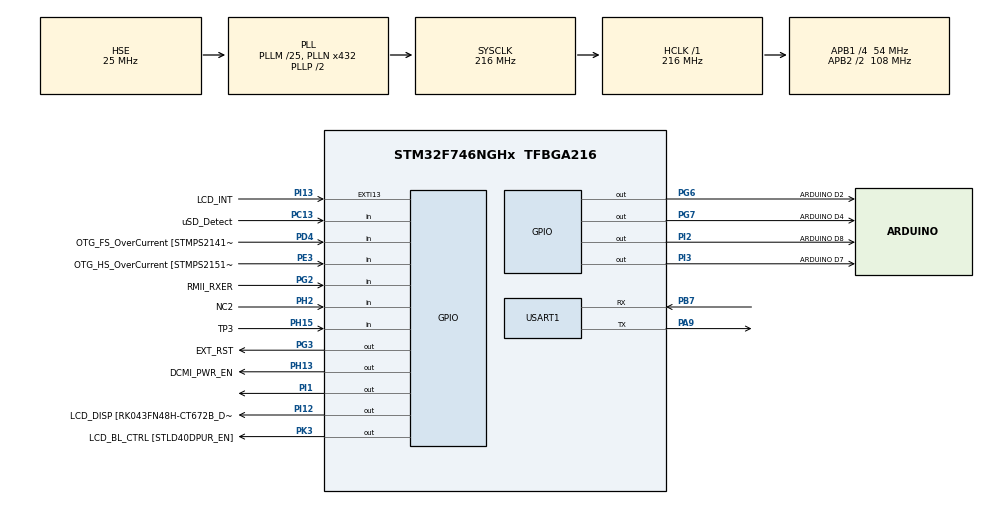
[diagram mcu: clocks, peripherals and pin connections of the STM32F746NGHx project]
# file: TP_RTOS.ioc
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FREERTOS.Tasks01=defaultTask,24,128,StartDefaultTask,Default,NULL,Dynamic,NULL,NULL
FREERTOS.configGENERATE_RUN_TIME_STATS=1
FREERTOS.configUSE_NEWLIB_REENTRANT=1
FREERTOS.configUSE_STATS_FORMATTING_FUNCTIONS=1
Mcu.Family=STM32F7
Mcu.Name=STM32F746NGHx
Mcu.Package=TFBGA216
NVIC.PriorityGroup=NVIC_PRIORITYGROUP_4
NVIC.TIM6_DAC_IRQn=true\:0\:0\:true\:false\:true\:false\:false\:true\:true
NVIC.TimeBase=TIM6_DAC_IRQn
NVIC.TimeBaseIP=TIM6
NVIC.USART1_IRQn=true\:5\:0\:false\:false\:true\:true\:true\:true\:true
PA0/WKUP.GPIO_Label=ARDUINO A0
PA0/WKUP.GPIO_Mode=GPIO_MODE_ANALOG
PA0/WKUP.GPIO_PuPd=GPIO_NOPULL
PA0/WKUP.Signal=ADCx_IN0
PA1.GPIO_Label=RMII_REF_CLK [LAN8742A-CZ-TR_REFCLK0]
PA1.Signal=ETH_REF_CLK
PA11.GPIO_Label=OTG_FS_N
PA11.Signal=USB_OTG_FS_DM
PA12.GPIO_Label=OTG_FS_P
PA12.Signal=USB_OTG_FS_DP
PA13.GPIO_Label=SWDIO
PA13.Mode=Trace_Asynchronous_SW
PA13.Signal=SYS_JTMS-SWDIO
PA14.GPIO_Label=SWCLK
PA14.Mode=Trace_Asynchronous_SW
PA14.Signal=SYS_JTCK-SWCLK
PA15.GPIO_Label=ARDUINO PWM/D9
PA15.GPIO_ModeDefaultPP=GPIO_MODE_AF_PP
PA15.GPIO_PuPd=GPIO_NOPULL
PA15.GPIO_Speed=GPIO_SPEED_FREQ_LOW
PA15.Signal=S_TIM2_CH1_ETR
PA4.GPIO_Label=DCMI_HSYNC
PA4.Signal=DCMI_HSYNC
PA5.GPIO_Label=ULPI_CLK [USB3320C-EZK_CLKOUT]
PA5.Signal=USB_OTG_HS_ULPI_CK
PA7.GPIO_Label=RMII_CRS_DV [LAN8742A-CZ-TR_CRS_DV]
PA7.Signal=ETH_CRS_DV
PA8.GPIO_Label=ARDUINO PWM/D10
PA8.GPIO_ModeDefaultPP=GPIO_MODE_AF_PP
PA8.GPIO_PuPd=GPIO_NOPULL
PA8.GPIO_Speed=GPIO_SPEED_FREQ_LOW
PA8.Signal=S_TIM1_CH1
PA9.Mode=Asynchronous
PA9.Signal=USART1_TX
PB0.GPIO_Label=ULPI_D1 [USB3320C-EZK_D1]
PB0.Signal=USB_OTG_HS_ULPI_D1
PB1.GPIO_Label=ULPI_D2 [USB3320C-EZK_D2]
PB1.Signal=USB_OTG_HS_ULPI_D2
PB10.GPIO_Label=ULPI_D3 [USB3320C-EZK_D3]
PB10.Signal=USB_OTG_HS_ULPI_D3
PB11.GPIO_Label=ULPI_D4 [USB3320C-EZK_D4]
PB11.Signal=USB_OTG_HS_ULPI_D4
PB12.GPIO_Label=ULPI_D5 [USB3320C-EZK_D5]
PB12.Signal=USB_OTG_HS_ULPI_D5
PB13.GPIO_Label=ULPI_D6 [USB3320C-EZK_D6]
PB13.Signal=USB_OTG_HS_ULPI_D6
PB14.GPIO_Label=ARDUINO MISO/D12
PB14.GPIO_Mode=GPIO_MODE_AF_PP
PB14.GPIO_PuPd=GPIO_NOPULL
PB14.GPIO_Speed=GPIO_SPEED_FREQ_LOW
PB14.Signal=SPI2_MISO
PB15.GPIO_Label=ARDUINO MOSI/PWM/D11
PB15.GPIO_Mode=GPIO_MODE_AF_PP
PB15.GPIO_PuPd=GPIO_NOPULL
PB15.GPIO_Speed=GPIO_SPEED_FREQ_LOW
PB15.Signal=SPI2_MOSI
PB2.Signal=QUADSPI_CLK
PB3.GPIO_Label=SWO
PB3.Mode=Trace_Asynchronous_SW
PB3.Signal=SYS_JTDO-SWO
PB4.GPIO_Label=ARDUINO PWM/D3
PB4.GPIO_ModeDefaultPP=GPIO_MODE_AF_PP
PB4.GPIO_PuPd=GPIO_NOPULL
PB4.GPIO_Speed=GPIO_SPEED_FREQ_LOW
PB4.Signal=S_TIM3_CH1
PB5.GPIO_Label=ULPI_D7 [USB3320C-EZK_D7]
PB5.Signal=USB_OTG_HS_ULPI_D7
PB6.GPIO_Label=QSPI_NCS [N25Q128A13EF840E_S]
PB6.Signal=QUADSPI_BK1_NCS
PB7.Mode=Asynchronous
PB7.Signal=USART1_RX
PB8.GPIO_Label=ARDUINO SCL/D15
PB8.GPIO_Mode=GPIO_MODE_AF_OD
PB8.GPIO_PuPd=GPIO_NOPULL
PB8.GPIO_Speed=GPIO_SPEED_FREQ_LOW
PB8.Signal=I2C1_SCL
PB9.GPIO_Label=ARDUINO SDA/D14
PB9.GPIO_Mode=GPIO_MODE_AF_OD
PB9.GPIO_PuPd=GPIO_NOPULL
PB9.GPIO_Speed=GPIO_SPEED_FREQ_LOW
PB9.Signal=I2C1_SDA
PC0.GPIO_Label=ULPI_STP [USB3320C-EZK_STP]
PC0.Signal=USB_OTG_HS_ULPI_STP
PC1.GPIO_Label=RMII_MDC [LAN8742A-CZ-TR_MDC]
PC1.Signal=ETH_MDC
PC10.GPIO_Label=SDMMC_D2
PC10.Signal=SDMMC1_D2
PC11.GPIO_Label=SDMMC_D3
PC11.Signal=SDMMC1_D3
PC12.GPIO_Label=SDMMC_CK
PC12.Signal=SDMMC1_CK
PC13.GPIO_Label=uSD_Detect
PC13.Signal=GPIO_Input
PC14/OSC32_IN.GPIO_Label=RCC_OSC32_IN
PC14/OSC32_IN.Signal=RCC_OSC32_IN
PC15/OSC32_OUT.GPIO_Label=RCC_OSC32_OUT
PC15/OSC32_OUT.Signal=RCC_OSC32_OUT
PC2.GPIO_Label=ULPI_DIR [USB3320C-EZK_DIR]
PC2.Signal=USB_OTG_HS_ULPI_DIR
PC3.GPIO_Label=FMC_SDCKE0 [MT48LC4M32B2B5-6A_CKE]
PC3.Signal=FMC_SDCKE0
PC4.GPIO_Label=RMII_RXD0 [LAN8742A-CZ-TR_RXD0]
PC4.Signal=ETH_RXD0
PC5.GPIO_Label=RMII_RXD1 [LAN8742A-CZ-TR_RXD1]
PC5.Signal=ETH_RXD1
PC6.GPIO_Label=ARDUINO TX/D1
PC6.Signal=USART6_TX
PC7.GPIO_Label=ARDUINO RX/D0
PC7.Signal=USART6_RX
PC8.Signal=SDMMC1_D0
PC9.Signal=SDMMC1_D1
PD0.GPIO_Label=FMC_D2 [MT48LC4M32B2B5-6A_DQ2]
PD0.Signal=FMC_D2_DA2
PD1.GPIO_Label=FMC_D3 [MT48LC4M32B2B5-6A_DQ3]
PD1.Signal=FMC_D3_DA3
PD10.GPIO_Label=FMC_D15 [MT48LC4M32B2B5-6A_DQ15]
PD10.Signal=FMC_D15_DA15
PD11.GPIO_Label=QSPI_D0 [N25Q128A13EF840E_DQ0]
PD11.Signal=QUADSPI_BK1_IO0
PD12.GPIO_Label=QSPI_D1 [N25Q128A13EF840E_DQ1]
PD12.Signal=QUADSPI_BK1_IO1
PD13.GPIO_Label=QSPI_D3 [N25Q128A13EF840E_DQ3]
PD13.Signal=QUADSPI_BK1_IO3
PD14.GPIO_Label=FMC_D0 [MT48LC4M32B2B5-6A_DQ0]
PD14.Signal=FMC_D0_DA0
PD15.GPIO_Label=FMC_D1 [MT48LC4M32B2B5-6A_DQ1]
PD15.Signal=FMC_D1_DA1
PD2.GPIO_Label=SDMMC_D0
PD2.Signal=SDMMC1_CMD
PD3.GPIO_Label=DCMI_D5
PD3.Signal=DCMI_D5
PD4.GPIO_Label=OTG_FS_OverCurrent [STMPS2141STR_Fault]
PD4.Signal=GPIO_Input
PD5.Signal=USART2_TX
PD7.GPIO_Label=SPDIF_RX0 [74LVC1G04SE_4]
PD7.Signal=SPDIFRX_IN0
PD8.GPIO_Label=FMC_D13 [MT48LC4M32B2B5-6A_DQ13]
PD8.Signal=FMC_D13_DA13
PD9.GPIO_Label=FMC_D14 [MT48LC4M32B2B5-6A_DQ14]
PD9.Signal=FMC_D14_DA14
PE0.GPIO_Label=FMC_NBL0 [MT48LC4M32B2B5-6A_DQM0]
PE0.Signal=FMC_NBL0
PE1.GPIO_Label=FMC_NBL1 [MT48LC4M32B2B5-6A_DQM1]
PE1.Signal=FMC_NBL1
PE10.GPIO_Label=FMC_D7 [MT48LC4M32B2B5-6A_DQ7]
PE10.Signal=FMC_D7_DA7
PE11.GPIO_Label=FMC_D8 [MT48LC4M32B2B5-6A_DQ8]
PE11.Signal=FMC_D8_DA8
PE12.GPIO_Label=FMC_D9 [MT48LC4M32B2B5-6A_DQ9]
PE12.Signal=FMC_D9_DA9
PE13.GPIO_Label=FMC_D10 [MT48LC4M32B2B5-6A_DQ10]
PE13.Signal=FMC_D10_DA10
PE14.GPIO_Label=FMC_D11 [MT48LC4M32B2B5-6A_DQ11]
PE14.Signal=FMC_D11_DA11
PE15.GPIO_Label=FMC_D12 [MT48LC4M32B2B5-6A_DQ12]
PE15.Signal=FMC_D12_DA12
PE2.GPIO_Label=QSPI_D2 [N25Q128A13EF840E_DQ2]
PE2.Signal=QUADSPI_BK1_IO2
PE3.GPIO_Label=OTG_HS_OverCurrent [STMPS2151STR_FAULT]
PE3.Signal=GPIO_Input
PE4.GPIO_Label=LCD_B0 [RK043FN48H-CT672B_B0]
PE4.Signal=LTDC_B0
PE5.GPIO_Label=DCMI_D6
PE5.Signal=DCMI_D6
PE6.GPIO_Label=DCMI_D7
PE6.Signal=DCMI_D7
PE7.GPIO_Label=FMC_D4 [MT48LC4M32B2B5-6A_DQ4]
PE7.Signal=FMC_D4_DA4
PE8.GPIO_Label=FMC_D5 [MT48LC4M32B2B5-6A_DQ5]
PE8.Signal=FMC_D5_DA5
PE9.GPIO_Label=FMC_D6 [MT48LC4M32B2B5-6A_DQ6]
PE9.Signal=FMC_D6_DA6
PF0.GPIO_Label=FMC_A0 [MT48LC4M32B2B5-6A_A0]
PF0.Signal=FMC_A0
PF1.GPIO_Label=FMC_A1 [MT48LC4M32B2B5-6A_A1]
PF1.Signal=FMC_A1
PF10.GPIO_Label=ARDUINO A1
PF10.GPIO_Mode=GPIO_MODE_ANALOG
PF10.GPIO_PuPd=GPIO_NOPULL
PF10.Signal=ADC3_IN8
PF11.GPIO_Label=FMC_SDNRAS [MT48LC4M32B2B5-6A_RAS]
PF11.Signal=FMC_SDNRAS
PF12.GPIO_Label=FMC_A6 [MT48LC4M32B2B5-6A_A6]
PF12.Signal=FMC_A6
PF13.GPIO_Label=FMC_A7 [MT48LC4M32B2B5-6A_A7]
PF13.Signal=FMC_A7
PF14.GPIO_Label=FMC_A8 [MT48LC4M32B2B5-6A_A8]
PF14.Signal=FMC_A8
PF15.GPIO_Label=FMC_A9 [MT48LC4M32B2B5-6A_A9]
PF15.Signal=FMC_A9
PF2.GPIO_Label=FMC_A2 [MT48LC4M32B2B5-6A_A2]
PF2.Signal=FMC_A2
PF3.GPIO_Label=FMC_A3 [MT48LC4M32B2B5-6A_A3]
PF3.Signal=FMC_A3
PF4.GPIO_Label=FMC_A4 [MT48LC4M32B2B5-6A_A4]
PF4.Signal=FMC_A4
PF5.GPIO_Label=FMC_A5 [MT48LC4M32B2B5-6A_A5]
PF5.Signal=FMC_A5
PF6.GPIO_Label=ARDUINO A5
PF6.GPIO_Mode=GPIO_MODE_ANALOG
PF6.GPIO_PuPd=GPIO_NOPULL
PF6.Signal=ADC3_IN4
PF7.GPIO_Label=ARDUINO A4
PF7.GPIO_Mode=GPIO_MODE_ANALOG
PF7.GPIO_PuPd=GPIO_NOPULL
PF7.Signal=ADC3_IN5
PF8.GPIO_Label=ARDUINO A3
PF8.GPIO_Mode=GPIO_MODE_ANALOG
PF8.GPIO_PuPd=GPIO_NOPULL
PF8.Signal=ADC3_IN6
PF9.GPIO_Label=ARDUINO A2
PF9.GPIO_Mode=GPIO_MODE_ANALOG
PF9.GPIO_PuPd=GPIO_NOPULL
PF9.Signal=ADC3_IN7
PG0.GPIO_Label=FMC_A10 [MT48LC4M32B2B5-6A_A10]
PG0.Signal=FMC_A10
PG1.GPIO_Label=FMC_A11 [MT48LC4M32B2B5-6A_A11]
PG1.Signal=FMC_A11
PG10.GPIO_Label=SAI2_SDB [WM8994ECS/R_ADCDAT1]
PG10.Signal=SAI2_SD_B
PG11.GPIO_Label=RMII_TX_EN [LAN8742A-CZ-TR_TXEN]
PG11.Signal=ETH_TX_EN
PG12.GPIO_Label=LCD_B4 [RK043FN48H-CT672B_B4]
PG12.Signal=LTDC_B4
PG13.GPIO_Label=RMII_TXD0 [LAN8742A-CZ-TR_TXD0]
PG13.Signal=ETH_TXD0
PG14.GPIO_Label=RMII_TXD1 [LAN8742A-CZ-TR_TXD1]
PG14.Signal=ETH_TXD1
PG15.GPIO_Label=FMC_SDNCAS [MT48LC4M32B2B5-6A_CAS]
PG15.Signal=FMC_SDNCAS
PG2.GPIO_Label=RMII_RXER
PG2.Signal=GPIO_Input
PG3.GPIO_Label=EXT_RST
PG3.Signal=GPIO_Output
PG4.GPIO_Label=FMC_BA0 [MT48LC4M32B2B5-6A_BA0]
PG4.Signal=FMC_A14_BA0
PG5.GPIO_Label=FMC_BA1 [MT48LC4M32B2B5-6A_BA1]
PG5.Signal=FMC_A15_BA1
PG6.GPIO_Label=ARDUINO D2
PG6.Signal=GPIO_Output
PG7.GPIO_Label=ARDUINO D4
PG7.Signal=GPIO_Output
PG8.GPIO_Label=FMC_SDCLK [MT48LC4M32B2B5-6A_CLK]
PG8.Signal=FMC_SDCLK
PG9.GPIO_Label=DCMI_VSYNC
PG9.Signal=DCMI_VSYNC
PH0/OSC_IN.GPIO_Label=OSC_25M [NZ2520SB-25.00M_OUT]
PH0/OSC_IN.Mode=HSE-External-Oscillator
PH0/OSC_IN.Signal=RCC_OSC_IN
PH1/OSC_OUT.Mode=HSE-External-Oscillator
PH1/OSC_OUT.Signal=RCC_OSC_OUT
PH10.GPIO_Label=DCMI_D1
PH10.Signal=DCMI_D1
PH11.GPIO_Label=DCMI_D2
PH11.Signal=DCMI_D2
PH12.GPIO_Label=DCMI_D3
PH12.Signal=DCMI_D3
PH13.GPIO_Label=DCMI_PWR_EN
PH13.Signal=GPIO_Output
PH14.GPIO_Label=DCMI_D4
PH14.Signal=DCMI_D4
PH15.GPIO_Label=TP3
PH15.Signal=GPIO_Input
PH2.GPIO_Label=NC2
PH2.Signal=GPIO_Input
PH3.GPIO_Label=FMC_SDNE0 [MT48LC4M32B2B5-6A_CS]
PH3.Signal=FMC_SDNE0
PH4.GPIO_Label=ULPI_NXT [USB3320C-EZK_NXT]
PH4.Signal=USB_OTG_HS_ULPI_NXT
PH5.GPIO_Label=FMC_SDNME [MT48LC4M32B2B5-6A_WE]
PH5.Signal=FMC_SDNWE
PH6.GPIO_Label=ARDUINO PWM/D6
PH6.Signal=S_TIM12_CH1
PH7.GPIO_Label=LCD_SCL [RK043FN48H-CT672B_SCL]
PH7.Signal=I2C3_SCL
PH8.GPIO_Label=LCD_SDA [RK043FN48H-CT672B_SDA]
PH8.Signal=I2C3_SDA
PH9.GPIO_Label=DCMI_D0
PH9.Signal=DCMI_D0
PI0.GPIO_Label=ARDUINO PWM/CS/D5
PI0.GPIO_ModeDefaultPP=GPIO_MODE_AF_PP
PI0.GPIO_PuPd=GPIO_NOPULL
PI0.GPIO_Speed=GPIO_SPEED_FREQ_LOW
PI0.Signal=S_TIM5_CH4
PI1.Signal=GPIO_Output
PI10.GPIO_Label=LCD_HSYNC [RK043FN48H-CT672B_HSYNC]
PI10.Signal=LTDC_HSYNC
PI12.GPIO_Label=LCD_DISP [RK043FN48H-CT672B_DISP] 
PI12.Signal=GPIO_Output
PI13.GPIO_Label=LCD_INT
PI13.GPIO_ModeDefaultEXTI=GPIO_MODE_EVT_RISING
PI13.Signal=GPXTI13
PI14.GPIO_Label=LCD_CLK [RK043FN48H-CT672B_CLK]
PI14.Signal=LTDC_CLK
PI15.GPIO_Label=LCD_R0 [RK043FN48H-CT672B_R0]
PI15.Signal=LTDC_R0
PI2.GPIO_Label=ARDUINO D8
PI2.Signal=GPIO_Output
PI3.GPIO_Label=ARDUINO D7
PI3.Signal=GPIO_Output
PI4.GPIO_Label=SAI2_MCLKA [WM8994ECS/R_MCLK1]
PI4.Signal=SAI2_MCLK_A
PI5.GPIO_Label=SAI2_SCKA [WM8994ECS/R_BCLK1]
PI5.Signal=SAI2_SCK_A
PI6.GPIO_Label=SAI2_SDA [WM8994ECS/R_DACDAT1]
PI6.Signal=SAI2_SD_A
PI7.GPIO_Label=SAI2_FSA [WM8994ECS/R_LRCLK1]
PI7.Signal=SAI2_FS_A
PI8.GPIO_Label=NC1 [TP2]
PI8.Signal=RTC_TS
PI9.GPIO_Label=LCD_VSYNC [RK043FN48H-CT672B_VSYNC]
PI9.Signal=LTDC_VSYNC
PJ0.GPIO_Label=LCD_R1 [RK043FN48H-CT672B_R1]
PJ0.Signal=LTDC_R1
PJ1.GPIO_Label=LCD_R2 [RK043FN48H-CT672B_R2]
PJ1.Signal=LTDC_R2
PJ10.GPIO_Label=LCD_G3 [RK043FN48H-CT672B_G3]
PJ10.Signal=LTDC_G3
PJ11.GPIO_Label=LCD_G4 [RK043FN48H-CT672B_G4]
PJ11.Signal=LTDC_G4
PJ13.GPIO_Label=LCD_B1 [RK043FN48H-CT672B_B1]
PJ13.Signal=LTDC_B1
PJ14.GPIO_Label=LCD_B2 [RK043FN48H-CT672B_B2]
PJ14.Signal=LTDC_B2
PJ15.GPIO_Label=LCD_B3 [RK043FN48H-CT672B_B3]
PJ15.Signal=LTDC_B3
PJ2.GPIO_Label=LCD_R3 [RK043FN48H-CT672B_R3]
PJ2.Signal=LTDC_R3
PJ3.GPIO_Label=LCD_R4 [RK043FN48H-CT672B_R4]
PJ3.Signal=LTDC_R4
PJ4.GPIO_Label=LCD_R5 [RK043FN48H-CT672B_R5]
PJ4.Signal=LTDC_R5
PJ5.GPIO_Label=LCD_R6 [RK043FN48H-CT672B_R6]
PJ5.Signal=LTDC_R6
PJ6.GPIO_Label=LCD_R7 [RK043FN48H-CT672B_R7]
PJ6.Signal=LTDC_R7
PJ7.GPIO_Label=LCD_G0 [RK043FN48H-CT672B_G0]
PJ7.Signal=LTDC_G0
PJ8.GPIO_Label=LCD_G1 [RK043FN48H-CT672B_G1]
PJ8.Signal=LTDC_G1
PJ9.GPIO_Label=LCD_G2 [RK043FN48H-CT672B_G2]
PJ9.Signal=LTDC_G2
PK0.GPIO_Label=LCD_G5 [RK043FN48H-CT672B_G5]
PK0.Signal=LTDC_G5
PK1.GPIO_Label=LCD_G6 [RK043FN48H-CT672B_G6]
PK1.Signal=LTDC_G6
PK2.GPIO_Label=LCD_G7 [RK043FN48H-CT672B_G7]
PK2.Signal=LTDC_G7
PK3.GPIO_Label=LCD_BL_CTRL [STLD40DPUR_EN]
PK3.Signal=GPIO_Output
PK4.GPIO_Label=LCD_B5 [RK043FN48H-CT672B_B5]
PK4.Signal=LTDC_B5
PK5.GPIO_Label=LCD_B6 [RK043FN48H-CT672B_B6]
PK5.Signal=LTDC_B6
PK6.GPIO_Label=LCD_B7 [RK043FN48H-CT672B_B7]
PK6.Signal=LTDC_B7
PK7.GPIO_Label=LCD_DE [RK043FN48H-CT672B_DE]
PK7.Signal=LTDC_DE
ProjectManager.HeapSize=0x200
ProjectManager.StackSize=0x400
ProjectManager.TargetToolchain=STM32CubeIDE
RCC.AHBFreq_Value=216000000
RCC.APB1CLKDivider=RCC_HCLK_DIV4
RCC.APB1Freq_Value=54000000
RCC.APB1TimFreq_Value=108000000
RCC.APB2CLKDivider=RCC_HCLK_DIV2
RCC.APB2Freq_Value=108000000
RCC.APB2TimFreq_Value=216000000
RCC.CortexFreq_Value=216000000
RCC.HCLKFreq_Value=216000000
RCC.HSE_VALUE=25000000
RCC.HSI_VALUE=16000000
RCC.LSE_VALUE=32768
RCC.PLLM=25
RCC.PLLN=432
RCC.PLLSourceVirtual=RCC_PLLSOURCE_HSE
RCC.SYSCLKFreq_VALUE=216000000
RCC.SYSCLKSource=RCC_SYSCLKSOURCE_PLLCLK
RCC.USBFreq_Value=216000000
RCC.VCOOutputFreq_Value=432000000
SH.ADCx_IN0.0=ADC3_IN0
SH.FMC_A0.0=FMC_A0
SH.FMC_A1.0=FMC_A1
SH.FMC_A10.0=FMC_A10
SH.FMC_A11.0=FMC_A11
SH.FMC_A14_BA0.0=FMC_BA0
SH.FMC_A15_BA1.0=FMC_BA1
SH.FMC_A2.0=FMC_A2
SH.FMC_A3.0=FMC_A3
SH.FMC_A4.0=FMC_A4
SH.FMC_A5.0=FMC_A5
SH.FMC_A6.0=FMC_A6
SH.FMC_A7.0=FMC_A7
SH.FMC_A8.0=FMC_A8
SH.FMC_A9.0=FMC_A9
SH.FMC_D0_DA0.0=FMC_D0
SH.FMC_D10_DA10.0=FMC_D10
SH.FMC_D11_DA11.0=FMC_D11
SH.FMC_D12_DA12.0=FMC_D12
SH.FMC_D13_DA13.0=FMC_D13
SH.FMC_D14_DA14.0=FMC_D14
SH.FMC_D15_DA15.0=FMC_D15
SH.FMC_D1_DA1.0=FMC_D1
SH.FMC_D2_DA2.0=FMC_D2
SH.FMC_D3_DA3.0=FMC_D3
SH.FMC_D4_DA4.0=FMC_D4
SH.FMC_D5_DA5.0=FMC_D5
SH.FMC_D6_DA6.0=FMC_D6
SH.FMC_D7_DA7.0=FMC_D7
SH.FMC_D8_DA8.0=FMC_D8
SH.FMC_D9_DA9.0=FMC_D9
SH.FMC_NBL0.0=FMC_NBL0
SH.FMC_NBL1.0=FMC_NBL1
SH.FMC_SDCLK.0=FMC_SDCLK
SH.FMC_SDNCAS.0=FMC_SDNCAS
SH.FMC_SDNRAS.0=FMC_SDNRAS
SH.FMC_SDNWE.0=FMC_SDNWE
SH.S_TIM12_CH1.0=TIM12_CH1
SH.S_TIM1_CH1.0=TIM1_CH1
SH.S_TIM2_CH1_ETR.0=TIM2_CH1
SH.S_TIM3_CH1.0=TIM3_CH1
SH.S_TIM5_CH4.0=TIM5_CH4
USART1.VirtualMode-Asynchronous=VM_ASYNC
VP_FREERTOS_VS_CMSIS_V2.Mode=CMSIS_V2
VP_SYS_VS_tim6.Mode=TIM6
board=STM32F746G-DISCO

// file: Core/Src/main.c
/* USER CODE BEGIN Header */
/**
  ******************************************************************************
  * @file           : main.c
  * @brief          : Main program body
  ******************************************************************************
  * @attention
  *
  * Copyright (c) 2025 STMicroelectronics.
  * All rights reserved.
  *
  * This software is licensed under terms that can be found in the LICENSE file
  * in the root directory of this software component.
  * If no LICENSE file comes with this software, it is provided AS-IS.
  *
  ******************************************************************************
  */
/* USER CODE END Header */
#include "main.h"
#include "cmsis_os.h"
#include "usart.h"
#include "gpio.h"

/* USER CODE BEGIN Includes */
#include "semphr.h"
#include <stdio.h>
#include "shell.h"
#include "drv_uart.h"
#include <string.h>
#include <stdlib.h>
#include "FreeRTOS.h"
#include "task.h"
#include "stm32f7xx_hal_tim.h"

/* USER CODE END Includes */

void SystemClock_Config(void);
void MX_FREERTOS_Init(void);

/* USER CODE BEGIN 0 */

volatile uint32_t tim6_overflow_count = 0;
extern TIM_HandleTypeDef htim6;

int __io_putchar(int ch) {
	HAL_UART_Transmit(&huart1, (uint8_t *)&ch, 1, HAL_MAX_DELAY);
return ch;
}

/*void LedCli(void *argument);

void LedCli(void *argument)
      {
        for(;;)
        {
          HAL_GPIO_TogglePin(GPIOI, GPIO_PIN_1); // Inverse l'état de la LED
          vTaskDelay(pdMS_TO_TICKS(500));        // Attendre 500ms :: vTaskDelay(500 / portTICK_PERIOD_MS);
        }
      }*/

// Taches utilisant un sémaphore binaire
/*SemaphoreHandle_t sem;

void TaskGive(void *argument);
void TaskTake(void *argument);

void TaskGive(void *argument){
    TickType_t delay = 100; // Délai initial en ms

    for(;;)
    {
        printf("TaskGive: Avant de donner le sémaphore\n");

        if (xSemaphoreGive(sem) == pdPASS)
        {
            printf("TaskGive: Sémaphore donné\n");
        }

        vTaskDelay(pdMS_TO_TICKS(delay)); // Attendre delay ms
        delay += 100; // Ajoute 100ms à chaque itération
    }
}

void TaskTake(void *argument){
    static int erreur_count = 0;

    for(;;)
    {
        printf("TaskTake: Avant de prendre le sémaphore\n");

        if (xSemaphoreTake(sem, pdMS_TO_TICKS(1000)) == pdTRUE)
        {
            printf("TaskTake: Sémaphore pris\n");
            erreur_count = 0; // Reset du compteur d'erreur
        }
        else
        {
            erreur_count++;
            printf("TaskTake: Erreur d'acquisition #%d\n", erreur_count);

            if (erreur_count >= 3)
            {
                printf("TaskTake: Trop d'échecs. Redémarrage dans 5s...\n");
                vTaskDelay(pdMS_TO_TICKS(5000));
                NVIC_SystemReset(); // Redémarrage logiciel
            }
        }
    }
}*/

// Taches avec Notification
/*TaskHandle_t taskTakeHandle;

void TaskGive(void *argument){
    TickType_t delay = 100; // Délai initial en ms

    for(;;)
    {
        printf("TaskGive: Avant de notifier la tâche\n");

        // Envoie une notification à TaskTake
        xTaskNotifyGive(taskTakeHandle);

        printf("TaskGive: Notification envoyée\n");

        vTaskDelay(pdMS_TO_TICKS(delay));
        delay += 100;
    }
}

void TaskTake(void *argument){
    static int erreur_count = 0;

    for(;;)
    {
        printf("TaskTake: Avant de recevoir la notification\n");

        // Attend la notification (pendant 1 seconde max)
        if (ulTaskNotifyTake(pdTRUE, pdMS_TO_TICKS(1000)) > 0)
        {
            printf("TaskTake: Notification reçue\n");
            erreur_count = 0;
        }
        else
        {
            erreur_count++;
            printf("TaskTake: Timeout #%d - pas de notification reçue\n", erreur_count);

            if (erreur_count >= 3)
            {
                printf("TaskTake: Trop d'échecs. Redémarrage dans 5s...\n");
                vTaskDelay(pdMS_TO_TICKS(5000));
                NVIC_SystemReset();
            }
        }
    }
}*/

//Tache avec mutex
/*SemaphoreHandle_t delay_mutex;

#define STACK_SIZE 256
#define TASK1_PRIORITY 1
#define TASK2_PRIORITY 2
#define TASK1_DELAY 1
#define TASK2_DELAY 2

void task_bug(void * pvParameters)
{
    int delay;

    for (;;)
    {
        // Prendre le mutex pour lire la valeur de delay de manière sécurisée
        if (xSemaphoreTake(delay_mutex, portMAX_DELAY) == pdTRUE)
        {
        	delay = (int) pvParameters;
            xSemaphoreGive(delay_mutex);
        }

        printf("Je suis %s et je m'endors pour %d ticks\r\n", pcTaskGetName(NULL), delay);
        vTaskDelay(delay);
    }
}
*/

extern UART_HandleTypeDef huart1;

h_shell_t shell;

int fonction(int argc, char ** argv)
{
	printf("Je suis une fonction bidon\r\n");

	printf("Nombre d'arguments : %d\r\n", argc);

	    for (int i = 0; i < argc; i++) {
	        printf("Arg[%d] = %s\r\n", i, argv[i]);
	    }

	return 0;
}

int addition(int argc, char ** argv)
{
    if (argc < 3) {
        printf("Erreur : 2 paramètres requis\r\n");
        return -1;
    }

    int a = atoi(argv[1]);
    int b = atoi(argv[2]);
    int result = a + b;

    printf("Addition : %d + %d = %d\r\n", a, b, result);

    return 0;
}

// allumer une led en dure, à améliorer pour choisir la led et le port, éteintre la led
int allume_led(int argc, char **argv) {
    HAL_GPIO_WritePin(GPIOI, GPIO_PIN_1, GPIO_PIN_SET);
    printf("LED PIN1 GPIOI est allumee !\r\n");
    return 0;
}

int eteint_led(int argc, char **argv) {
    HAL_GPIO_WritePin(GPIOI, GPIO_PIN_1, GPIO_PIN_RESET);
    printf("LED PIN1 GPIOI est eteinte !\r\n");
    return 0;
}

/// fonctions pour statistiques
void configureTimerForRunTimeStats(void) {
    HAL_TIM_Base_Start_IT(&htim6);  // Lancer TIM6 avec IT
    tim6_overflow_count = 0;
}

unsigned long getRunTimeCounterValue(void) {
    return (tim6_overflow_count << 16) + __HAL_TIM_GET_COUNTER(&htim6);
}

void TacheStats(void *pvParameters) {
    char buffer[512];

    for (;;) {
        vTaskGetRunTimeStats(buffer);
        printf("=== RunTime Stats ===\n%s\n", buffer);
        vTaskDelay(pdMS_TO_TICKS(2000)); // Toutes les 2 secondes
    }
}

void ShellTask(void *argument) {
    shell.io.drv_shell_transmit = drv_uart_transmit;
    shell.io.drv_shell_receive  = drv_uart_receive;

    drv_uart_init_IT();  // // Lancement de la première réception en IT

    shell_init(&shell);
    shell_add(&shell, 'f', fonction, "Une fonction inutile");
    shell_add(&shell, 'a', addition, "Addition de deux entiers");
    shell_add(&shell, 'l', allume_led, "Allumer LED (GPIOI_PIN1)");
    shell_add(&shell, 'e', eteint_led, "Eteindre LED (GPIOI_PIN1)");
    shell_add(&shell, 's', TacheStats, "Statitiques taches/CPU/MEMOIRE");

    shell_run(&shell);  // éxécute une boucle while(1)
}

////// ******************* Gestion du Tas ********************///////

/* Tache bidon */
void tache_bidon(void *pvParameters) {
    for (;;) {
        vTaskDelay(pdMS_TO_TICKS(1000));
    }
}

/* Création répétée de tâches pour tester la limite mémoire */
void cree_plusieurs_taches(void) {
    BaseType_t result;
    int i = 1;

    while (1) {
        char name[16];
        snprintf(name, sizeof(name), "D%d", i);

        result = xTaskCreate(tache_bidon, name, 512, NULL, 1, NULL);
        if (result != pdPASS) {
            printf(" Tache %d : echec de creation (peut etre memoire epuisee)\n", i);
            Error_Handler();
            break;
        } else {
            printf(" Tache %d creee avec succes | Heap restant : %u octets\n",
                   i, (unsigned int)xPortGetFreeHeapSize());
        }

        i++;
    }
}

void vApplicationStackOverflowHook(TaskHandle_t xTask, char *pcTaskName) {

    printf(" Dépassement de pile detecte dans la tache : %s\n", pcTaskName);

    taskDISABLE_INTERRUPTS();
    while (1); //pour debbuger
}

void TacheOverflow(void *pvParameters) {
	printf("je rentre");
	UBaseType_t remaining = uxTaskGetStackHighWaterMark(NULL);
	printf("Pile restante avant recursion : %lu mots (%lu octets)\n",remaining, remaining * sizeof(StackType_t));

	vTaskDelay(pdMS_TO_TICKS(10));
	//Fonction récursive sans fin
    void Recursif(int niveau) {
        volatile char buffer[128]; // Alloue 128 octets à chaque appel
        buffer[0] = (char)niveau;  // Utilise la variable
        Recursif(niveau + 1);      // Appel récursif
        printf("recursif");
    }

    Recursif(0);

    vTaskDelete(NULL);
    printf("fin recursif");
}

/* USER CODE END 0 */

int main(void)
{

  /* MCU Configuration--------------------------------------------------------*/

  /* Reset of all peripherals, Initializes the Flash interface and the Systick. */
  HAL_Init();

  /* Configure the system clock */
  SystemClock_Config();

  /* Initialize all configured peripherals */
  MX_GPIO_Init();
  MX_USART1_UART_Init();
  /* USER CODE BEGIN 2 */

  //printf("Test UART transmission\n");

  // Pour les tâches avec le sémaphore

  /*	  sem = xSemaphoreCreateBinary();
      // Vérifier si le sémaphore a été créé avec succès
      if (sem == NULL)
      {
          printf("Erreur de création du sémaphore\n");
          while(1);
      }*/

  /* Création de la tâche */
    //xTaskCreate(LedCli, "LedTask", 128, NULL, 1, NULL);

  // Pour les tâches avec le sémaphore
  /*
  xTaskCreate(TaskGive, "TaskGive", 128, NULL, 1, NULL);
  xTaskCreate(TaskTake, "TaskTake", 128, NULL, 2, NULL);*/

   // Taches avec Notification
  /*xTaskCreate(TaskTake, "TaskTake", 128, NULL, 2, &taskTakeHandle);
  xTaskCreate(TaskGive, "TaskGive", 128, NULL, 1, NULL);*/

  //Tache avec Mutex
  /*BaseType_t ret;
  delay_mutex = xSemaphoreCreateMutex();
  configASSERT(delay_mutex != NULL);

  ret = xTaskCreate(task_bug, "Tache 1", STACK_SIZE, (void *) TASK1_DELAY, TASK1_PRIORITY, NULL);
  configASSERT(pdPASS == ret);
  ret = xTaskCreate(task_bug, "Tache 2", STACK_SIZE, (void *) TASK2_DELAY, TASK2_PRIORITY, NULL);
  configASSERT(pdPASS == ret);*/

  xTaskCreate(ShellTask, "Shell", 512, NULL, 1, NULL);

  //xTaskCreate(TacheStats,"TacheStats", 512, NULL, 1, NULL); // est appelable depuis Shell également avec "s"

  //printf("Hello\n");

  //Création de la tâche avec pile trop petite
     //xTaskCreate(TacheOverflow, "OVERFLOW", 128, NULL, 1, NULL);

  //printf("tache cree\n");

  //Pour la création plusieurs tache pour generer un dépassement de mémoire
  //cree_plusieurs_taches();

	vTaskStartScheduler();

  // Si le scheduler échoue, on arrive ici
	printf("Erreur : démarrage du scheduler echoue\n");

  /* USER CODE END 2 */

  /* Init scheduler */
  osKernelInitialize();

  /* Call init function for freertos objects (in cmsis_os2.c) */
  MX_FREERTOS_Init();

  /* Start scheduler */
  osKernelStart();

  /* We should never get here as control is now taken by the scheduler */

  /* Infinite loop */
  while (1)
  {

    /* USER CODE BEGIN 3 */
	  // Clignotement LED1
	  //HAL_GPIO_TogglePin(GPIOI, GPIO_PIN_1); // Pour LED1

	  //HAL_Delay(500); // Délai de 500ms
  }
  /* USER CODE END 3 */
}

void SystemClock_Config(void)
{
  RCC_OscInitTypeDef RCC_OscInitStruct = {0};
  RCC_ClkInitTypeDef RCC_ClkInitStruct = {0};

  /** Configure the main internal regulator output voltage
  */
  __HAL_RCC_PWR_CLK_ENABLE();
  __HAL_PWR_VOLTAGESCALING_CONFIG(PWR_REGULATOR_VOLTAGE_SCALE1);

  /** Initializes the RCC Oscillators according to the specified parameters
  * in the RCC_OscInitTypeDef structure.
  */
  RCC_OscInitStruct.OscillatorType = RCC_OSCILLATORTYPE_HSE;
  RCC_OscInitStruct.HSEState = RCC_HSE_ON;
  RCC_OscInitStruct.PLL.PLLState = RCC_PLL_ON;
  RCC_OscInitStruct.PLL.PLLSource = RCC_PLLSOURCE_HSE;
  RCC_OscInitStruct.PLL.PLLM = 25;
  RCC_OscInitStruct.PLL.PLLN = 432;
  RCC_OscInitStruct.PLL.PLLP = RCC_PLLP_DIV2;
  RCC_OscInitStruct.PLL.PLLQ = 2;
  if (HAL_RCC_OscConfig(&RCC_OscInitStruct) != HAL_OK)
  {
    Error_Handler();
  }

  /** Activate the Over-Drive mode
  */
  if (HAL_PWREx_EnableOverDrive() != HAL_OK)
  {
    Error_Handler();
  }

  /** Initializes the CPU, AHB and APB buses clocks
  */
  RCC_ClkInitStruct.ClockType = RCC_CLOCKTYPE_HCLK|RCC_CLOCKTYPE_SYSCLK
                              |RCC_CLOCKTYPE_PCLK1|RCC_CLOCKTYPE_PCLK2;
  RCC_ClkInitStruct.SYSCLKSource = RCC_SYSCLKSOURCE_PLLCLK;
  RCC_ClkInitStruct.AHBCLKDivider = RCC_SYSCLK_DIV1;
  RCC_ClkInitStruct.APB1CLKDivider = RCC_HCLK_DIV4;
  RCC_ClkInitStruct.APB2CLKDivider = RCC_HCLK_DIV2;

  if (HAL_RCC_ClockConfig(&RCC_ClkInitStruct, FLASH_LATENCY_7) != HAL_OK)
  {
    Error_Handler();
  }
}

void HAL_TIM_PeriodElapsedCallback(TIM_HandleTypeDef *htim)
{
  if (htim->Instance == TIM6) {
    HAL_IncTick();
    tim6_overflow_count++;
  }
}

void Error_Handler(void)
{
  __disable_irq();
  while (1)
  {
  }
}
